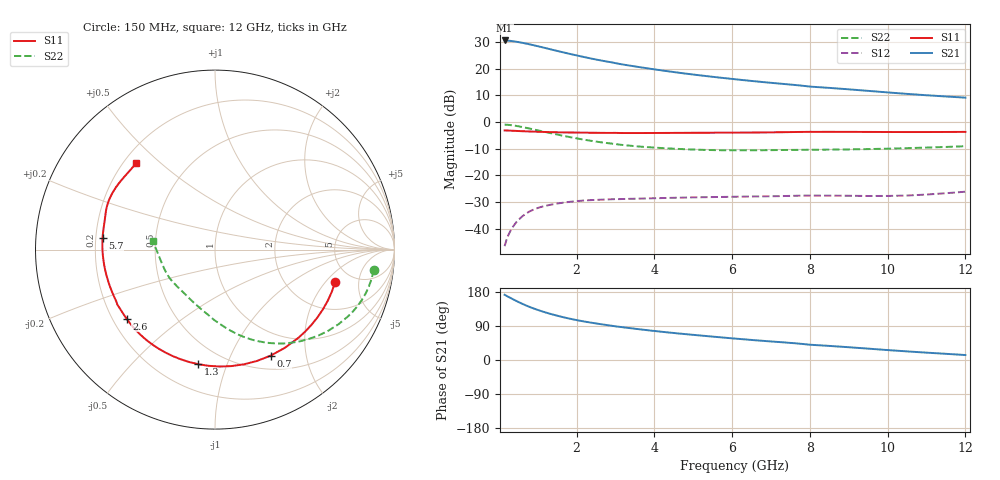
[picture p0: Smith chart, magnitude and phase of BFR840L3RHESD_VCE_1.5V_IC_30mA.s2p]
! Infineon Technologies  Discrete & RF Semiconductors
! BFR840L3RHESD
! VCE =  1.5 V,  IC =  30 mA
! Common Emitter S-Parameters:  Jun 2012
# GHz  S  MA  R  50
!  f  S11  S21  S12  S22
! GHz  MAG  ANG  MAG  ANG  MAG  ANG  MAG  ANG
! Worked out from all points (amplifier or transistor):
!   91 points, 150 MHz to 12 GHz, reference 50 ohm
!   highest |S21| = 30.5 dB at 150 MHz (marker M1)
!   |S21| within 3 dB of that: start of sweep to 1.242 GHz
!   unconditionally stable (mu >= 1): 5.538 GHz to end of sweep
!   at 1.3 GHz: K = 0.28, MSG = 29.2 dB, |S12| = -31.1 dB
!   at 4.3 GHz: K = 0.79, MSG = 23.8 dB, |S12| = -28.5 dB
!   at 12 GHz: K = 1.94, MAG = 12.1 dB, |S12| = -26.1 dB
!   S11 on the Smith chart (normalised r, x): 150 MHz: 3.68, -2.54; 700 MHz: 0.67, -1.43; 1.3 GHz: 0.36, -0.80; 2.6 GHz: 0.26, -0.32; 5.7 GHz: 0.23, +0.05; 12 GHz: 0.25, +0.42
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0.15  0.6934 -15.0  33.69 172.1  0.0047 80.3  0.8913 -7.3
0.25  0.6899 -24.4  33.36 166.5  0.0077 78.6  0.8819 -13.4
0.4  0.6817 -38.0  32.33 158.4  0.0118 70.3  0.8542 -21.6
0.5  0.6764 -46.5  31.45 153.3  0.0145 65.4  0.8303 -26.5
0.6  0.6715 -54.6  30.48 148.5  0.0169 61.3  0.8042 -31.1
0.7  0.6672 -62.2  29.47 144.0  0.0192 58.1  0.7771 -35.5
0.8  0.6631 -69.3  28.42 139.8  0.0212 55.4  0.75 -39.6
1  0.6554 -82.1  26.32 132.2  0.0244 51.0  0.6972 -47.1
1.3  0.6453 -98.4  23.29 122.5  0.0278 45.5  0.6249 -56.8
1.5  0.6402 -107.5  21.46 117.0  0.0296 41.9  0.5819 -62.4
1.7  0.6366 -115.6  19.83 111.9  0.031 38.6  0.5432 -67.6
2  0.6326 -125.9  17.69 105.3  0.0329 34.7  0.4932 -74.4
2.2  0.6302 -131.9  16.44 101.5  0.0338 33.1  0.4648 -78.4
2.6  0.6251 -142.0  14.33 94.9  0.0349 31.3  0.4189 -85.6
3.3  0.6202 -156.0  11.59 85.0  0.0361 27.7  0.3633 -96.5
4.2  0.6222 -169.1  9.233 74.4  0.0375 26.2  0.3242 -109.1
5.7  0.6297 174.2  6.762 59.9  0.0393 26.2  0.2956 -128.5
6.1  0.6312 170.5  6.29 56.3  0.0397 26.2  0.2941 -133.4
8  0.6522 154.4  4.6 40.3  0.0417 27.5  0.3012 -157.0
8.5  0.6529 151.2  4.351 37.2  0.0416 28.0  0.3029 -161.3
10.5  0.6471 138.9  3.359 22.7  0.0418 36.3  0.3229 -178.2
12  0.6518 132.5  2.856 13.1  0.0493 41.8  0.351 172.4
